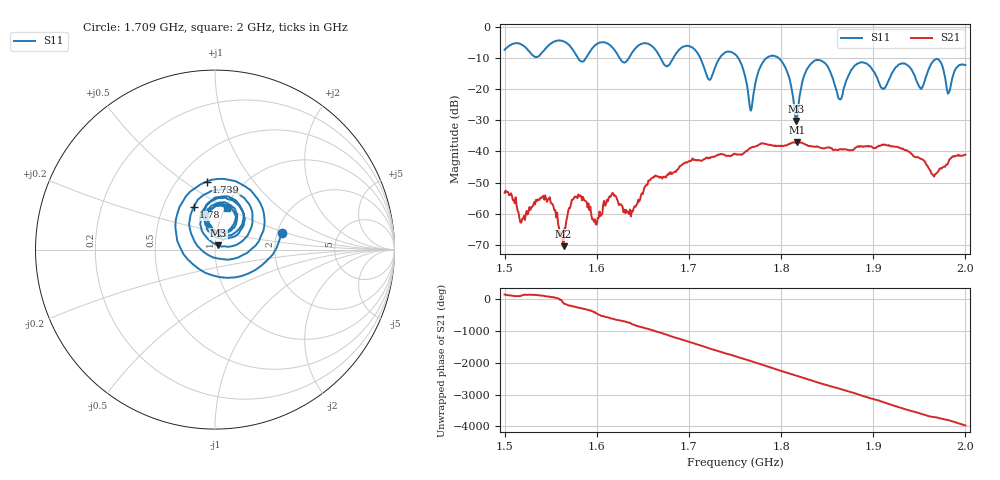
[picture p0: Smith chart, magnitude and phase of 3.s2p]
! NanoVNA-App by SYSJOINT et al v1.1.209 (+OD18)
! Date: 2026-01-21 14:17:26
! Start: 1,5GHz Stop: 2GHz Points: 501
! S-Parameter data: F S11 S21 S12 S22
# Hz S RI R 50
!  Frequency  S11_Real  S11_Imag  S21_Real  S21_Imag  S12_Real  S12_Imag  S22_Real  S22_Imag
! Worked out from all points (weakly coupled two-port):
!   501 points, 1.5 GHz to 2 GHz, reference 50 ohm
!   highest |S21| = -37.01 dB at 1.817 GHz (marker M1); lowest = -70.4 dB at 1.564 GHz (marker M2)
!   lowest |S11| = -30.3 dB at 1.816 GHz (marker M3), VSWR 1.06, Z = 51.8 + j2.52 ohm
!   |S11| at or under -10 dB: 1.712 GHz to 1.734 GHz (21.39 MHz wide, 1.24 % of centre); 1.753 GHz to 1.785 GHz (31.36 MHz wide, 1.77 % of centre); 1.797 GHz to end of sweep (the widest 3 of 6)
!   S12 and S22 are empty: the file has one direction only
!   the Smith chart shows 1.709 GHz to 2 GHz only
!   S11 on the Smith chart (normalised r, x): 1.709 GHz: 2.11, +0.47; 1.739 GHz: 0.69, +0.61; 1.78 GHz: 0.71, +0.36; 2 GHz: 1.02, +0.50
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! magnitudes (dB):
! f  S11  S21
! 1.5 GHz  -7.4  -53.3
! 1.518 GHz  -5.7  -62.9
! 1.549 GHz  -5.7  -54.7
! 1.564 GHz  -4.8  -70.4
! 1.584 GHz  -11.2  -55.7
! 1.637 GHz  -9.0  -60.9
! 1.667 GHz  -8.9  -48.1
! 1.709 GHz  -8.3  -42.8
! 1.722 GHz  -17.1  -42.0
! 1.739 GHz  -8.4  -41.2
! 1.75 GHz  -8.9  -40.9
! 1.767 GHz  -27.0  -38.9
! 1.78 GHz  -11.5  -37.4
! 1.802 GHz  -11.7  -38.2
! 1.816 GHz  -30.3  -37.3
! 1.817 GHz  -30.1  -37.0
! 1.834 GHz  -11.5  -38.4
! 1.864 GHz  -23.3  -39.3
! 1.885 GHz  -11.6  -38.6
! 1.917 GHz  -17.1  -38.0
! 1.965 GHz  -11.1  -47.6
! 2 GHz  -12.3  -41.1
